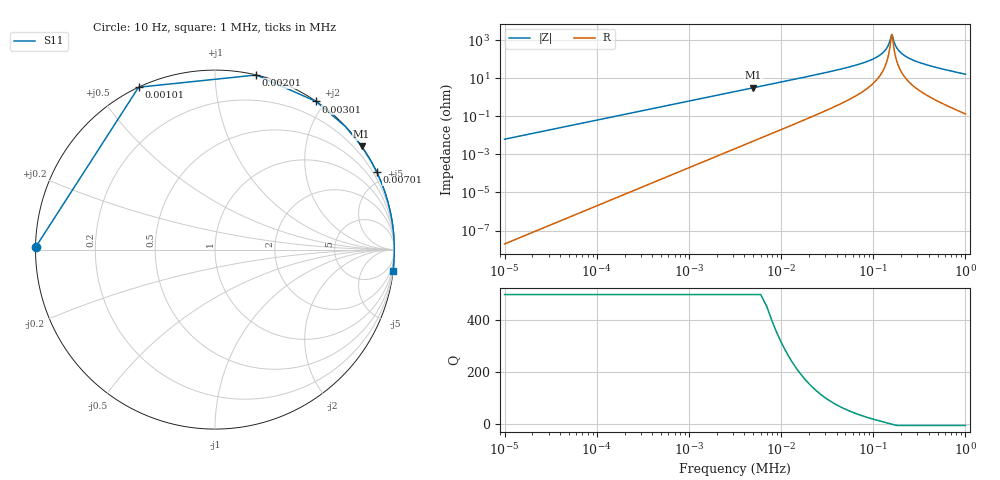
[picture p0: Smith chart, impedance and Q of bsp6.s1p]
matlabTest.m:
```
% Reads a sample file and plots all possible data

clf
addpath 'incomming/s-param_toolbox/sbox'

IN.file = ['../sample_files/bsp6.s1p'];
 
% read Datafile
fid_log = fopen('SXPParse_log.txt','w');
% freq: Frequency Points
% data: Data in Scattering format
% freq_noise, data_noise not used
% Zo: reference resistance
[freq, data, freq_noise, data_noise, Zo] = SXPParse(IN.file, fid_log);


%data = s2z(data);
%data = s2y(Zo,data);
%data2=data(:); % Data to compares

scattering=data(:);

impedance=s2z(Zo, data);
impedance=impedance(:);

admittance=s2y(Zo, data);
admittance=admittance(:);

% % Plott scattering
% subplot(221)
% semilogx(freq, real(scattering), 'LineWidth', 2)
% hold on
% semilogx(freq, imag(scattering), 'LineWidth', 2)
% grid on
% legend('real','imag')
% title('S')
% 
% % Plott impedance
% subplot(222)
% loglog(freq, real(imdecande), 'LineWidth', 2)
% hold on
% loglog(freq, imag(imdecande), 'LineWidth', 2)
% grid on
% legend('real','imag')
% title('Z')
% 
% % Plott admittance
% subplot(223)
% semilogx(freq, real(admittance), 'LineWidth', 2)
% hold on
% semilogx(freq, imag(admittance), 'LineWidth', 2)
% grid on
% legend('real','imag')
% title('Y')
```
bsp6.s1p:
! AWR Design Environment (7670) Wed Feb 10 15:01:30 2016
! Document = 'bsp6'
! nPorts: 1, nXvals: 1001
# HZ Z RI R 1
!Freq ReZ11 ImZ11
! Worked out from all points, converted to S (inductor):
!   1001 points, 10 Hz to 1 MHz, reference 1 ohm
!   read as one part to ground: L = 100 uH near 5.01 kHz
!   highest Q = 635 at 5.01 kHz (marker M1), where L = 100 uH
!   self-resonance near 159 kHz
!   S11 on the Smith chart (normalised r, x): 10 Hz: 0.00, +0.01; 1.01 kHz: 0.00, +0.63; 2.01 kHz: 0.00, +1.26; 3.01 kHz: 0.00, +1.89; 7.01 kHz: 0.01, +4.41; 1 MHz: 0, -16
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10  1.97e-08 0.00628
1010  0.000201 0.6346
2010  0.000798 1.263
3010  0.00179 1.892
5010  0.00496 3.151
6010  0.00715 3.782
7010  0.00974 4.413
10010  0.0199 6.314
17010  0.0584 10.81
28010  0.1649 18.16
46010  0.4974 31.54
334010  1.898 -61.59
667010  0.32 -25.3
1000000  0.1333 -16.33
